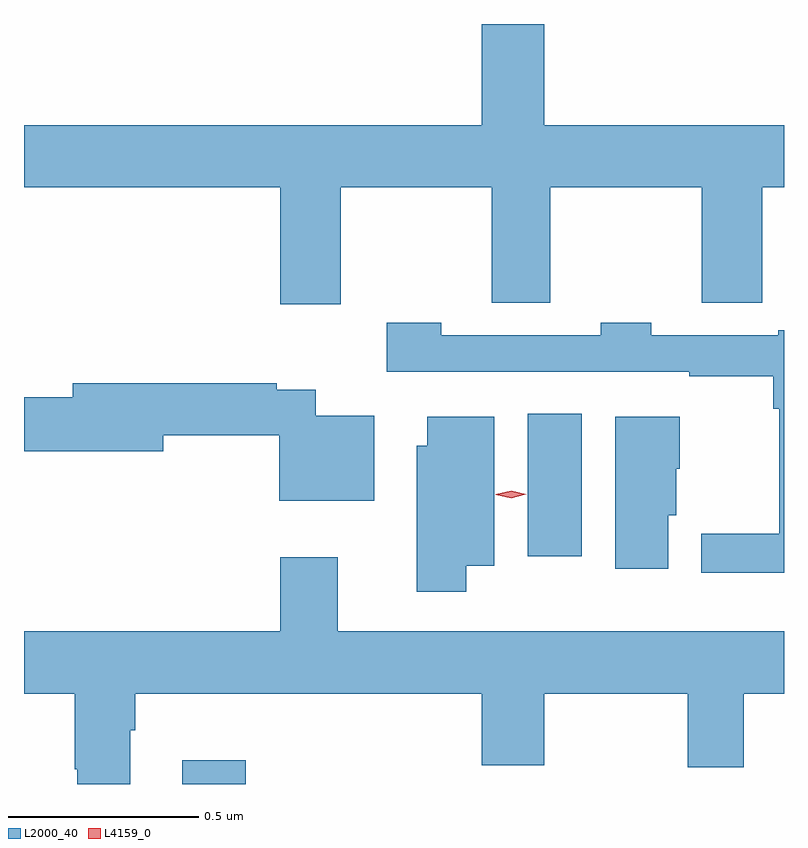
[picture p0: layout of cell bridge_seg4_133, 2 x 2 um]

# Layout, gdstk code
import gdstk
lib = gdstk.Library(unit=1e-6, precision=1e-09)
def R(c, l, rs):  # rectangles x0, y0, x1, y1
    for r in rs: c.add(gdstk.rectangle(r[:2], r[2:], *l))
def P(c, l, *ps):  # polygons
    for p in ps: c.add(gdstk.Polygon(p, *l))
L2000_40 = (2000, 40)
L4159_0 = (4159, 0)

bridge_seg4_133 = lib.new_cell('bridge_seg4_133')
R(bridge_seg4_133, L2000_40, [(140.243,808.57,140.411,808.633), (141.152,809.169,141.295,809.545)])
P(bridge_seg4_133, L2000_40, [(140.661,810.14),(141.058,810.14),(141.058,809.836),(141.212,809.836),(141.212,810.14),(141.61,810.14),(141.61,809.836),(141.77,809.836),(141.77,810.14),(141.827,810.14),(141.827,810.304),(141.196,810.304),(141.196,810.57),(141.032,810.57),(141.032,810.304),(139.827,810.304),(139.827,810.14),(140.501,810.14),(140.501,809.832),(140.661,809.832)],
  [(141.827,809.764),(141.812,809.764),(141.812,809.751),(141.477,809.751),(141.477,809.784),(141.345,809.784),(141.345,809.751),(140.925,809.751),(140.925,809.784),(140.781,809.784),(140.781,809.655),(141.577,809.655),(141.577,809.643),(141.799,809.643),(141.799,809.558),(141.814,809.558),(141.814,809.228),(141.609,809.228),(141.609,809.126),(141.827,809.126)],
  [(140.749,809.539),(140.595,809.539),(140.595,809.607),(140.492,809.607),(140.492,809.624),(139.955,809.624),(139.955,809.588),(139.827,809.588),(139.827,809.446),(140.194,809.446),(140.194,809.488),(140.499,809.488),(140.499,809.315),(140.749,809.315)],
  [(140.991,809.144),(141.064,809.144),(141.064,809.536),(140.888,809.536),(140.888,809.46),(140.861,809.46),(140.861,809.076),(140.991,809.076)],
  [(141.523,809.277),(141.544,809.277),(141.544,809.4),(141.553,809.4),(141.553,809.536),(141.383,809.536),(141.383,809.136),(141.523,809.136)],
  [(141.032,808.62),(141.196,808.62),(141.196,808.808),(141.574,808.808),(141.574,808.614),(141.721,808.614),(141.721,808.808),(141.827,808.808),(141.827,808.972),(140.653,808.972),(140.653,809.167),(140.501,809.167),(140.501,808.972),(139.827,808.972),(139.827,808.808),(139.96,808.808),(139.96,808.609),(139.967,808.609),(139.967,808.57),(140.107,808.57),(140.107,808.712),(140.12,808.712),(140.12,808.808),(141.032,808.808)])
P(bridge_seg4_133, L4159_0, [(141.109,809.322),(141.069,809.331),(141.068,809.332),(141.069,809.332),(141.109,809.342),(141.149,809.333),(141.149,809.332),(141.149,809.332)])

lib.write_gds('bridge_seg4_133.gds')
